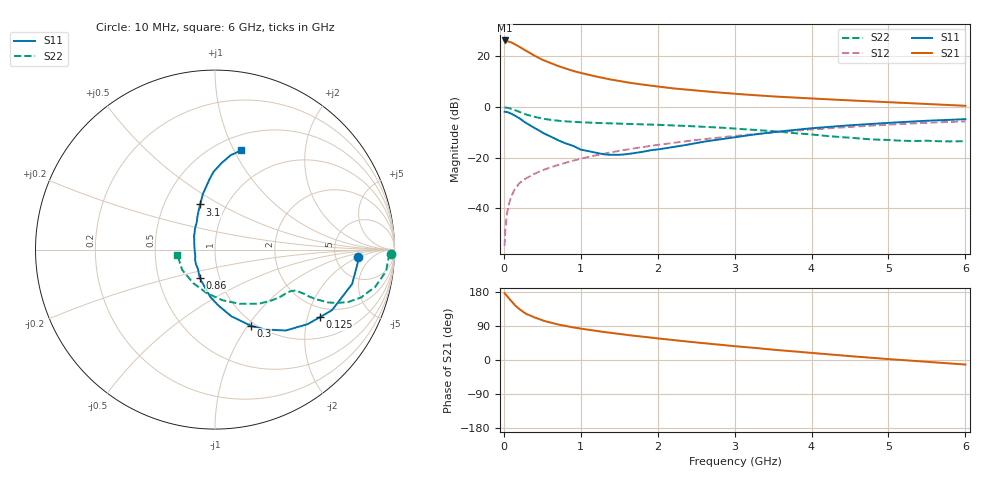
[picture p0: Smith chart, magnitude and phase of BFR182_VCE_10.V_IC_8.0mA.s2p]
! Infineon Technologies  Discrete & RF Semiconductors
! BFR182
! VCE =  10. V,  IC =  8.0 mA
! Common Emitter S-Parameters:  Nov 2015
# GHz  S  MA  R  50
!  f  S11  S21  S12  S22
! GHz  MAG  ANG  MAG  ANG  MAG  ANG  MAG  ANG
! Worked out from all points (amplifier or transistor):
!   210 points, 10 MHz to 6 GHz, reference 50 ohm
!   highest |S21| = 26.2 dB at 10 MHz (marker M1)
!   |S21| within 3 dB of that: start of sweep to 229.8 MHz
!   unconditionally stable (mu >= 1): 939 MHz to 2.923 GHz
!   at 185 MHz: K = 0.44, MSG = 27.3 dB, |S12| = -30.7 dB
!   at 1.52 GHz: K = 1.05, MAG = 12.3 dB, |S12| = -17.2 dB
!   at 6 GHz: K = 0.89, MSG = 3.1 dB, |S12| = -5.7 dB
!   S11 on the Smith chart (normalised r, x): 10 MHz: 8.59, -1.87; 125 MHz: 1.64, -2.39; 300 MHz: 0.95, -1.03; 860 MHz: 0.81, -0.26; 3.1 GHz: 0.75, +0.41; 6 GHz: 0.65, +1.07
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0.01  0.8001 -2.8  20.31 176.5  0.0018 77.6  0.9795 -1.4
0.025  0.7952 -6.9  20.06 172.6  0.0047 83.6  0.9662 -3.6
0.05  0.7877 -14.1  19.62 166.6  0.0095 80.5  0.9612 -7.1
0.085  0.7457 -23.2  18.79 158.3  0.0151 77.3  0.9281 -11.3
0.1  0.7339 -27.4  18.56 154.6  0.0175 76.5  0.9155 -13.2
0.125  0.6949 -32.8  17.66 149.2  0.0212 72.9  0.8847 -15.6
0.15  0.6628 -38.8  16.93 143.2  0.0249 70.4  0.8556 -18.2
0.2  0.5991 -48.8  15.3 134.7  0.0309 68.4  0.7991 -21.4
0.24  0.5396 -55.8  14.08 128.5  0.0347 66.5  0.755 -23.1
0.3  0.4692 -64.8  12.4 120.7  0.0399 65.7  0.6976 -25.0
0.4  0.3821 -76.3  10.15 112.2  0.0481 64.4  0.6337 -26.1
0.5  0.3104 -86.8  8.481 104.4  0.056 64.8  0.5876 -26.5
0.6  0.2641 -95.8  7.342 98.7  0.0637 64.6  0.5552 -26.4
0.7  0.2216 -103.8  6.427 93.9  0.0712 65.6  0.5331 -26.6
0.86  0.1786 -117.7  5.33 87.7  0.0839 65.5  0.511 -26.8
1.02  0.1415 -133.3  4.579 82.2  0.0965 65.8  0.4961 -27.5
1.4  0.1136 -173.1  3.429 71.4  0.1273 65.5  0.4714 -30.3
2.02  0.146 141.4  2.492 56.6  0.18 62.0  0.4418 -37.6
3.1  0.2651 108.2  1.765 34.8  0.276 53.1  0.3647 -55.9
4.1  0.3891 94.8  1.436 17.0  0.3666 42.9  0.2758 -84.7
5.1  0.4936 84.5  1.219 1.0  0.453 31.1  0.2179 -127.7
6  0.5711 75.3  1.049 -12.0  0.5163 19.2  0.2117 -172.3
